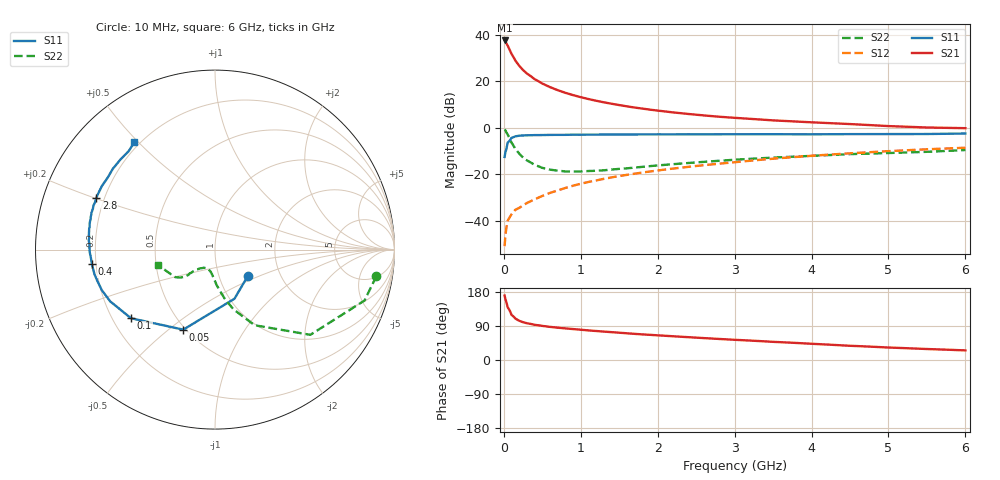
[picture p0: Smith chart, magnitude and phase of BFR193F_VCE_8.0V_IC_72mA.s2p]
! Infineon Technologies  Discrete & RF Semiconductors
! BFR193F
! VCE =  8.0 V,  IC =  72 mA
! Common Emitter S-Parameters:  Jan 2017
# GHz  S  MA  R  50
!  f  S11  S21  S12  S22
! GHz  MAG  ANG  MAG  ANG  MAG  ANG  MAG  ANG
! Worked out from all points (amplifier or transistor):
!   77 points, 10 MHz to 6 GHz, reference 50 ohm
!   highest |S21| = 37.6 dB at 10 MHz (marker M1)
!   |S21| within 3 dB of that: start of sweep to 61.11 MHz
!   unconditionally stable (mu >= 1): 642.9 MHz to 2.701 GHz
!   at 130 MHz: K = 0.53, MSG = 33.1 dB, |S12| = -36.1 dB
!   at 2.2 GHz: K = 1.02, MAG = 11.1 dB, |S12| = -17.6 dB
!   at 6 GHz: K = 0.85, MSG = 4.2 dB, |S12| = -8.7 dB
!   S11 on the Smith chart (normalised r, x): 10 MHz: 1.37, -0.43; 50 MHz: 0.49, -0.56; 100 MHz: 0.28, -0.33; 400 MHz: 0.18, -0.06; 2.8 GHz: 0.17, +0.20; 6 GHz: 0.18, +0.49
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0.01  0.2346 -38.7  75.55 170.2  0.0028 85.3  0.9117 -9.3
0.02  0.2945 -68.4  72.7 160.7  0.0047 76.0  0.88 -18.8
0.05  0.4796 -111.6  58.29 138.9  0.0099 62.8  0.7123 -41.8
0.1  0.6041 -140.7  38.69 118.9  0.0136 52.2  0.4755 -62.4
0.15  0.6509 -153.6  27.81 109.3  0.017 51.2  0.3477 -72.9
0.2  0.6702 -160.4  21.48 103.5  0.0187 54.4  0.2764 -79.0
0.25  0.6793 -165.6  17.39 99.7  0.0212 57.4  0.2262 -83.8
0.3  0.6855 -168.6  14.64 97.0  0.0238 58.9  0.1973 -87.4
0.4  0.6909 -173.3  11.09 92.8  0.0285 63.8  0.158 -92.9
0.5  0.693 -176.3  8.916 90.0  0.0338 67.2  0.1363 -97.5
0.6  0.6979 -178.7  7.47 87.4  0.0393 69.6  0.1244 -101.7
0.7  0.6994 179.1  6.422 85.2  0.0444 71.4  0.1187 -105.6
0.8  0.7 177.7  5.626 83.4  0.0502 72.5  0.114 -109.6
0.9  0.7051 175.8  5.024 81.6  0.0562 73.4  0.1132 -112.7
1.1  0.7075 173.1  4.132 78.1  0.0677 74.3  0.1164 -118.2
1.5  0.7131 168.5  3.064 72.0  0.0908 75.6  0.1295 -126.8
2.1  0.7177 162.5  2.23 63.9  0.1254 75.4  0.1584 -133.5
2.8  0.7208 156.6  1.719 55.5  0.1676 74.1  0.1936 -136.8
3.1  0.7218 154.1  1.588 52.3  0.1867 73.4  0.2082 -136.8
4.1  0.7206 145.3  1.281 41.8  0.254 69.4  0.2509 -141.7
5.1  0.7276 135.4  1.066 32.2  0.3177 63.6  0.2875 -153.3
6  0.7479 126.9  0.975 25.4  0.3692 58.2  0.3293 -164.7
